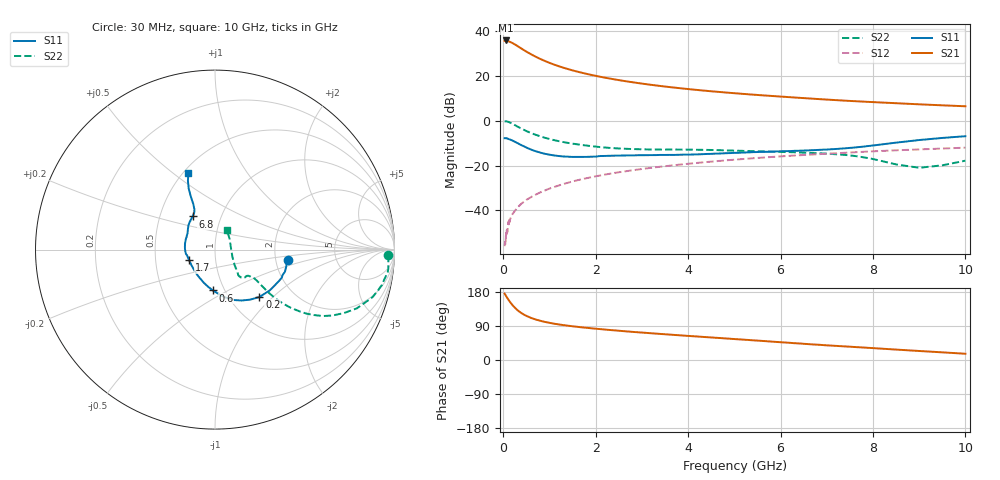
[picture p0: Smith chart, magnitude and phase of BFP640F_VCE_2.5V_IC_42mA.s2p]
! Infineon Technologies  Discrete & RF Semiconductors
! BFP640F
! VCE =  2.5 V,  IC =  42 mA
! Common Emitter S-Parameters:  Apr 2013
# GHz  S  MA  R  50
!  f  S11  S21  S12  S22
! GHz  MAG  ANG  MAG  ANG  MAG  ANG  MAG  ANG
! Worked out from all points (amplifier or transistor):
!   99 points, 30 MHz to 10 GHz, reference 50 ohm
!   highest |S21| = 35.8 dB at 50 MHz (marker M1)
!   |S21| within 3 dB of that: start of sweep to 345.5 MHz
!   unconditionally stable (mu >= 1): 1.528 GHz to end of sweep
!   at 350 MHz: K = 0.57, MSG = 35.3 dB, |S12| = -37.9 dB
!   at 3.5 GHz: K = 1.06, MAG = 16.2 dB, |S12| = -20.3 dB
!   at 10 GHz: K = 1.04, MAG = 8.0 dB, |S12| = -12.0 dB
!   S11 on the Smith chart (normalised r, x): 30 MHz: 2.33, -0.32; 200 MHz: 1.37, -0.83; 600 MHz: 0.88, -0.42; 1.7 GHz: 0.74, -0.09; 6.8 GHz: 0.73, +0.28; 10 GHz: 0.53, +0.57
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0.03  0.4081 -8.0  60.4 175.2  0.0016 97.4  0.9662 -1.8
0.05  0.4081 -13.1  61.56 171.4  0.0017 103.1  0.9688 -4.8
0.08  0.402 -20.8  61.04 165.2  0.0041 80.7  0.9615 -9.2
0.12  0.3884 -30.7  58.66 157.8  0.0049 89.1  0.9347 -14.4
0.15  0.3802 -36.8  57.19 152.7  0.0064 84.7  0.9064 -17.7
0.2  0.3619 -46.8  53.84 144.9  0.0083 78.8  0.8554 -22.5
0.25  0.3411 -54.8  50.39 138.2  0.0097 79.5  0.8007 -26.2
0.3  0.3204 -62.3  46.84 132.4  0.0114 77.5  0.7505 -29.3
0.4  0.2836 -74.3  40.29 123.3  0.0144 75.3  0.6603 -33.5
0.5  0.2526 -83.9  34.8 116.5  0.0172 75.2  0.5895 -36.0
0.6  0.2279 -93.0  30.36 111.2  0.0198 75.2  0.5327 -37.5
0.8  0.1952 -108.5  23.88 103.5  0.0252 74.3  0.4496 -38.8
1  0.1752 -122.1  19.52 98.1  0.0307 74.2  0.392 -38.8
1.3  0.1599 -139.9  15.22 92.1  0.0388 73.6  0.3346 -37.8
1.7  0.1562 -158.1  11.75 86.2  0.0497 72.2  0.2882 -36.4
2.4  0.1664 -178.8  8.378 78.3  0.0685 68.8  0.2443 -37.5
3.4  0.1729 160.7  5.949 68.8  0.0944 63.7  0.2277 -41.3
5.1  0.1933 140.7  4.034 54.5  0.1379 54.5  0.2143 -46.7
6.7  0.2207 125.1  3.099 41.1  0.1768 45.1  0.1905 -47.4
6.8  0.2231 124.0  3.051 40.4  0.1791 44.5  0.1888 -47.2
8.5  0.325 114.5  2.458 27.5  0.2192 34.4  0.1065 -23.6
10  0.4521 109.1  2.1 16.5  0.251 25.6  0.1288 59.3
